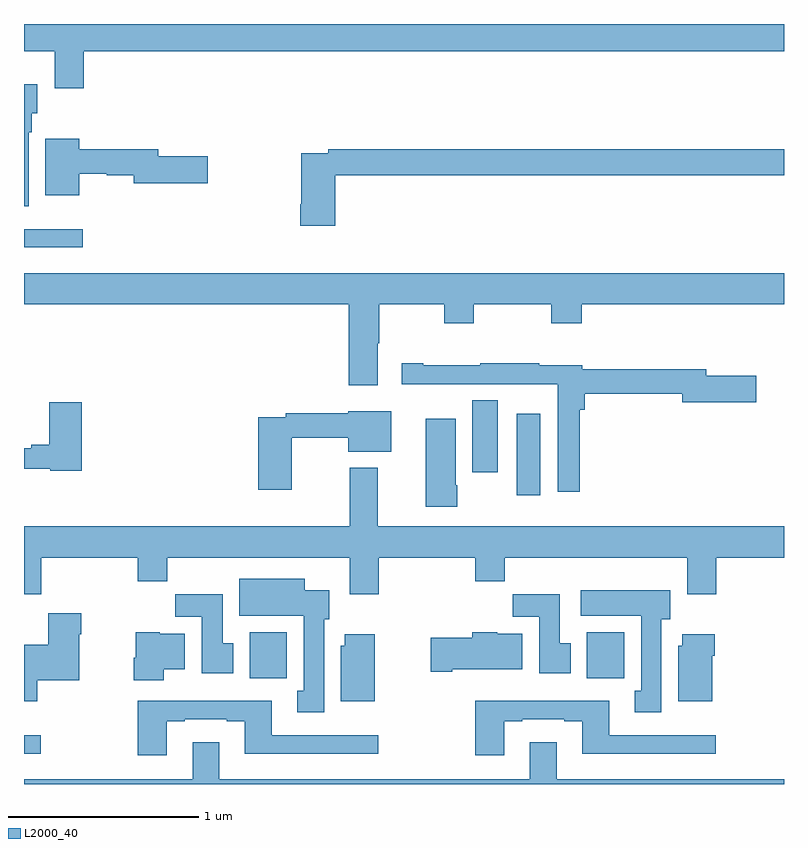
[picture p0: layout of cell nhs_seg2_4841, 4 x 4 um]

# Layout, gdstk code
import gdstk
lib = gdstk.Library(unit=1e-6, precision=1e-09)
def R(c, l, rs):  # rectangles x0, y0, x1, y1
    for r in rs: c.add(gdstk.rectangle(r[:2], r[2:], *l))
def P(c, l, *ps):  # polygons
    for p in ps: c.add(gdstk.Polygon(p, *l))
L2000_40 = (2000, 40)

nhs_seg2_4841 = lib.new_cell('nhs_seg2_4841')
R(nhs_seg2_4841, L2000_40, [(375,623.96,375.088,624.057), (376.187,624.356,376.384,624.598), (377.963,624.356,378.16,624.598), (377.594,625.32,377.716,625.75), (377.36,625.44,377.494,625.82), (375,626.624,375.31,626.721)])
P(nhs_seg2_4841, L2000_40, [(375.314,627.656),(379,627.656),(379,627.8),(375,627.8),(375,627.656),(375.161,627.656),(375.161,627.462),(375.314,627.462)],
  [(375.025,627.23),(375.04,627.23),(375.04,627.33),(375.07,627.33),(375.07,627.484),(375,627.484),(375,626.841),(375.025,626.841)],
  [(375.292,627.012),(375.435,627.012),(375.435,627.004),(375.578,627.004),(375.578,626.962),(375.967,626.962),(375.967,627.104),(375.706,627.104),(375.706,627.14),(375.292,627.14),(375.292,627.196),(375.113,627.196),(375.113,626.9),(375.292,626.9)],
  [(376.637,627.004),(379,627.004),(379,627.14),(376.6,627.14),(376.6,627.12),(376.459,627.12),(376.459,626.851),(376.454,626.851),(376.454,626.739),(376.637,626.739)],
  [(376.861,626.12),(376.869,626.12),(376.869,626.324),(377.212,626.324),(377.212,626.225),(377.367,626.225),(377.367,626.324),(377.776,626.324),(377.776,626.225),(377.936,626.225),(377.936,626.324),(379,626.324),(379,626.488),(375,626.488),(375,626.324),(376.709,626.324),(376.709,625.899),(376.861,625.899)],
  [(377.924,625.769),(377.951,625.769),(377.951,625.855),(378.464,625.855),(378.464,625.808),(378.853,625.808),(378.853,625.95),(378.592,625.95),(378.592,625.984),(377.938,625.984),(377.938,626.004),(377.711,626.004),(377.711,626.014),(377.401,626.014),(377.401,626.004),(377.101,626.004),(377.101,626.014),(376.989,626.014),(376.989,625.904),(377.264,625.904),(377.264,625.905),(377.598,625.905),(377.598,625.904),(377.808,625.904),(377.808,625.338),(377.924,625.338)],
  [(375.305,625.81),(375.134,625.81),(375.134,625.586),(375.038,625.586),(375.038,625.566),(375,625.566),(375,625.458),(375.138,625.458),(375.138,625.45),(375.305,625.45)],
  [(376.41,625.623),(376.706,625.623),(376.706,625.55),(376.933,625.55),(376.933,625.762),(376.706,625.762),(376.706,625.751),(376.378,625.751),(376.378,625.731),(376.232,625.731),(376.232,625.35),(376.41,625.35)],
  [(377.28,625.372),(377.272,625.372),(377.272,625.723),(377.114,625.723),(377.114,625.26),(377.28,625.26)],
  [(375.092,624.992),(375.599,624.992),(375.599,624.868),(375.755,624.868),(375.755,624.992),(376.715,624.992),(376.715,624.798),(376.868,624.798),(376.868,624.992),(377.375,624.992),(377.375,624.868),(377.531,624.868),(377.531,624.992),(378.491,624.992),(378.491,624.798),(378.644,624.798),(378.644,624.992),(379,624.992),(379,625.156),(376.861,625.156),(376.861,625.465),(376.714,625.465),(376.714,625.156),(375,625.156),(375,624.798),(375.092,624.798)],
  [(376.579,624.666),(376.606,624.666),(376.606,624.82),(376.477,624.82),(376.477,624.88),(376.133,624.88),(376.133,624.686),(376.472,624.686),(376.472,624.29),(376.439,624.29),(376.439,624.177),(376.579,624.177)],
  [(378.355,624.666),(378.4,624.666),(378.4,624.82),(377.931,624.82),(377.931,624.686),(378.248,624.686),(378.248,624.29),(378.215,624.29),(378.215,624.177),(378.355,624.177)],
  [(377.878,624.54),(377.821,624.54),(377.821,624.799),(377.572,624.799),(377.572,624.68),(377.711,624.68),(377.711,624.384),(377.878,624.384)],
  [(376.102,624.54),(376.045,624.54),(376.045,624.798),(375.796,624.798),(375.796,624.68),(375.935,624.68),(375.935,624.384),(376.102,624.384)],
  [(375.07,624.347),(375.292,624.347),(375.292,624.587),(375.3,624.587),(375.3,624.7),(375.127,624.7),(375.127,624.532),(375,624.532),(375,624.236),(375.07,624.236)],
  [(377.254,624.404),(377.623,624.404),(377.623,624.592),(377.49,624.592),(377.49,624.598),(377.36,624.598),(377.36,624.57),(377.142,624.57),(377.142,624.392),(377.254,624.392)],
  [(375.736,624.404),(375.847,624.404),(375.847,624.592),(375.714,624.592),(375.714,624.598),(375.589,624.598),(375.589,624.465),(375.578,624.465),(375.578,624.347),(375.736,624.347)],
  [(376.846,624.589),(376.688,624.589),(376.688,624.528),(376.667,624.528),(376.667,624.236),(376.846,624.236)],
  [(378.622,624.476),(378.635,624.476),(378.635,624.589),(378.464,624.589),(378.464,624.528),(378.443,624.528),(378.443,624.236),(378.622,624.236)],
  [(375.751,624.129),(375.847,624.129),(375.847,624.141),(376.067,624.141),(376.067,624.129),(376.163,624.129),(376.163,623.96),(376.864,623.96),(376.864,624.057),(376.303,624.057),(376.303,624.238),(375.599,624.238),(375.599,623.952),(375.751,623.952)],
  [(377.527,624.129),(377.623,624.129),(377.623,624.141),(377.843,624.141),(377.843,624.129),(377.939,624.129),(377.939,623.96),(378.64,623.96),(378.64,624.057),(378.079,624.057),(378.079,624.238),(377.375,624.238),(377.375,623.952),(377.527,623.952)],
  [(379,623.824),(377.803,623.824),(377.803,624.019),(377.663,624.019),(377.663,623.824),(376.027,623.824),(376.027,624.019),(375.887,624.019),(375.887,623.824),(375,623.824),(375,623.8),(379,623.8)])

lib.write_gds('nhs_seg2_4841.gds')
